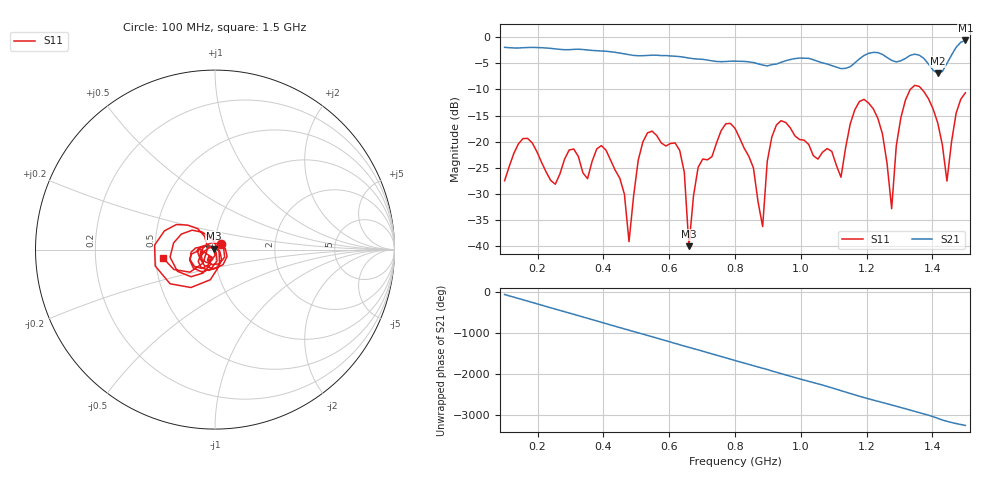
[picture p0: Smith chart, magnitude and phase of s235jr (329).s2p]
! NanoVNA-App
! Date: 2025-09-25 15:06:43
! Start: 100MHz Stop: 1,5GHz Points: 101
! S-Parameter data: F S11 S21 S12 S22
# Hz S RI R 50
!  Frequency  S11_Real  S11_Imag  S21_Real  S21_Imag  S12_Real  S12_Imag  S22_Real  S22_Imag
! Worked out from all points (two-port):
!   101 points, 100 MHz to 1.5 GHz, reference 50 ohm
!   highest |S21| = -0.65 dB at 1.5 GHz (marker M1); lowest = -6.9 dB at 1.416 GHz (marker M2)
!   |S21| within 3 dB of the highest: start of sweep to 612.4 MHz; 1.189 GHz to 1.256 GHz (66.54 MHz wide, 5.44 % of centre) (the widest 2 of 4)
!   lowest |S11| = -40.0 dB at 660 MHz (marker M3), VSWR 1.02, Z = 49.2 + j0.575 ohm
!   |S11| at or under -10 dB: start of sweep to 1.333 GHz; 1.368 GHz to end of sweep
!   S12 and S22 are empty: the file has one direction only
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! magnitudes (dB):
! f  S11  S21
! 100 MHz  -27.5  -2.0
! 156 MHz  -19.4  -2.0
! 338 MHz  -26.0  -2.4
! 408 MHz  -21.6  -2.7
! 478 MHz  -39.1  -3.4
! 520 MHz  -20.1  -3.6
! 576 MHz  -20.2  -3.5
! 632 MHz  -21.7  -3.7
! 660 MHz  -40.0  -4.0
! 688 MHz  -24.9  -4.2
! 800 MHz  -17.5  -4.6
! 884 MHz  -36.2  -5.3
! 926 MHz  -16.8  -5.2
! 1.038 GHz  -22.7  -4.3
! 1.122 GHz  -26.8  -6.0
! 1.192 GHz  -11.9  -3.5
! 1.248 GHz  -18.5  -3.3
! 1.276 GHz  -32.8  -4.5
! 1.332 GHz  -10.0  -3.5
! 1.416 GHz  -16.4  -6.9
! 1.444 GHz  -27.5  -5.0
! 1.5 GHz  -10.7  -0.6
